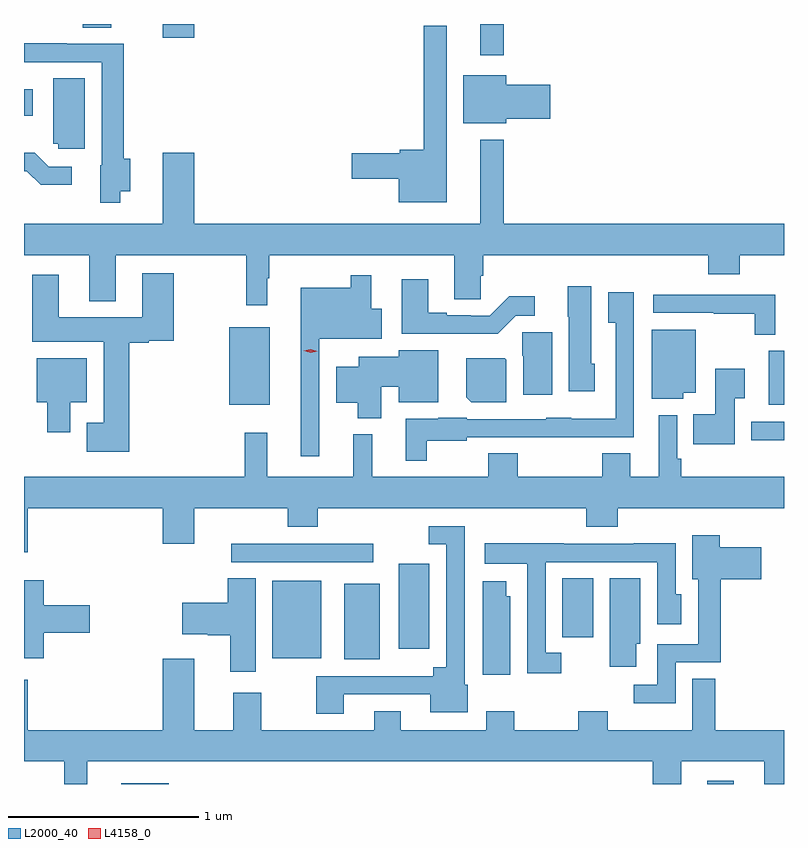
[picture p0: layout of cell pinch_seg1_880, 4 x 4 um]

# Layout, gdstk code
import gdstk
lib = gdstk.Library(unit=1e-6, precision=1e-09)
def R(c, l, rs):  # rectangles x0, y0, x1, y1
    for r in rs: c.add(gdstk.rectangle(r[:2], r[2:], *l))
def P(c, l, *ps):  # polygons
    for p in ps: c.add(gdstk.Polygon(p, *l))
L2000_40 = (2000, 40)
L4158_0 = (4158, 0)

pinch_seg1_880 = lib.new_cell('pinch_seg1_880')
R(pinch_seg1_880, L2000_40, [(548.405,519.644,548.656,519.649), (551.489,519.644,551.629,519.661), (549.578,520.301,549.766,520.699), (549.2,520.307,549.457,520.714), (549.866,520.356,550.027,520.804), (550.727,520.416,550.888,520.727), (548.985,520.812,549.73,520.908), (551.721,521.453,551.893,521.55), (548.972,521.639,549.187,522.049), (551.813,521.639,551.893,521.923), (547.893,523.16,547.939,523.3), (550.295,523.479,550.417,523.644), (548.624,523.572,548.788,523.644), (548.201,523.624,548.353,523.644)])
P(pinch_seg1_880, L2000_40, [(550.117,523.636),(549.996,523.636),(549.996,522.983),(549.87,522.983),(549.87,522.965),(549.618,522.965),(549.618,522.83),(549.866,522.83),(549.866,522.707),(550.117,522.707)],
  [(548.4,522.764),(548.452,522.764),(548.452,522.935),(548.417,522.935),(548.417,523.539),(548.117,523.539),(548.117,523.542),(547.893,523.542),(547.893,523.443),(548.301,523.443),(548.301,522.9),(548.294,522.9),(548.294,522.704),(548.4,522.704)],
  [(550.432,523.145),(550.663,523.145),(550.663,523.323),(550.432,523.323),(550.432,523.375),(550.205,523.375),(550.205,523.121),(550.432,523.121)],
  [(548.212,523.358),(548.048,523.358),(548.048,523.014),(548.073,523.014),(548.073,522.987),(548.212,522.987)],
  [(549.172,522.305),(549.184,522.305),(549.184,522.428),(550.157,522.428),(550.157,522.196),(550.296,522.196),(550.296,522.318),(550.31,522.318),(550.31,522.428),(551.495,522.428),(551.495,522.326),(551.66,522.326),(551.66,522.428),(551.893,522.428),(551.893,522.592),(550.417,522.592),(550.417,523.036),(550.295,523.036),(550.295,522.592),(548.788,522.592),(548.788,522.967),(548.624,522.967),(548.624,522.592),(547.893,522.592),(547.893,522.428),(548.237,522.428),(548.237,522.185),(548.377,522.185),(548.377,522.428),(549.063,522.428),(549.063,522.165),(549.172,522.165)],
  [(548.143,522.894),(548.022,522.894),(547.949,522.967),(547.893,522.967),(547.893,522.87),(547.908,522.87),(547.981,522.797),(548.143,522.797)],
  [(548.447,521.966),(548.55,521.966),(548.55,521.978),(548.682,521.978),(548.682,522.331),(548.516,522.331),(548.516,522.1),(548.077,522.1),(548.077,522.325),(547.937,522.325),(547.937,521.972),(548.312,521.972),(548.312,521.545),(548.222,521.545),(548.222,521.393),(548.447,521.393)],
  [(549.447,521.987),(549.775,521.987),(549.775,522.145),(549.721,522.145),(549.721,522.322),(549.612,522.322),(549.612,522.256),(549.35,522.256),(549.35,521.37),(549.447,521.37)],
  [(550.482,522.108),(550.582,522.108),(550.582,522.211),(550.447,522.211),(550.344,522.108),(550.244,522.108),(550.244,522.111),(550.117,522.111),(550.117,522.124),(550.021,522.124),(550.021,522.301),(549.881,522.301),(549.881,522.014),(550.387,522.014)],
  [(550.897,521.856),(550.879,521.856),(550.879,522.265),(550.754,522.265),(550.754,522.102),(550.76,522.102),(550.76,521.712),(550.897,521.712)],
  [(550.012,521.45),(550.224,521.45),(550.224,521.469),(550.641,521.469),(550.641,521.468),(550.873,521.468),(550.873,521.469),(551.103,521.469),(551.103,522.232),(550.967,522.232),(550.967,522.071),(551.007,522.071),(551.007,521.566),(550.773,521.566),(550.773,521.572),(550.641,521.572),(550.641,521.565),(550.224,521.565),(550.224,521.572),(550.074,521.572),(550.074,521.566),(549.902,521.566),(549.902,521.345),(550.012,521.345)],
  [(551.848,522.219),(551.205,522.219),(551.205,522.123),(551.524,522.123),(551.524,522.118),(551.739,522.118),(551.739,522.008),(551.848,522.008)],
  [(551.362,521.702),(551.428,521.702),(551.428,522.034),(551.198,522.034),(551.198,521.672),(551.362,521.672)],
  [(550.672,522.021),(550.516,522.021),(550.516,521.898),(550.52,521.898),(550.52,521.694),(550.672,521.694)],
  [(549.772,521.734),(549.866,521.734),(549.866,521.654),(550.072,521.654),(550.072,521.926),(549.866,521.926),(549.866,521.893),(549.656,521.893),(549.656,521.839),(549.536,521.839),(549.536,521.651),(549.65,521.651),(549.65,521.57),(549.772,521.57)],
  [(548.137,521.654),(548.224,521.654),(548.224,521.884),(547.961,521.884),(547.961,521.654),(548.015,521.654),(548.015,521.496),(548.137,521.496)],
  [(550.432,521.876),(550.424,521.884),(550.22,521.884),(550.22,521.68),(550.246,521.654),(550.432,521.654)],
  [(551.635,521.674),(551.686,521.674),(551.686,521.83),(551.531,521.83),(551.531,521.59),(551.416,521.59),(551.416,521.432),(551.635,521.432)],
  [(547.913,521.096),(548.624,521.096),(548.624,520.908),(548.788,520.908),(548.788,521.096),(549.28,521.096),(549.28,520.997),(549.44,520.997),(549.44,521.096),(550.853,521.096),(550.853,520.997),(551.018,520.997),(551.018,521.096),(551.893,521.096),(551.893,521.26),(551.351,521.26),(551.351,521.356),(551.331,521.356),(551.331,521.584),(551.234,521.584),(551.234,521.26),(551.083,521.26),(551.083,521.384),(550.936,521.384),(550.936,521.26),(550.491,521.26),(550.491,521.384),(550.336,521.384),(550.336,521.26),(549.725,521.26),(549.725,521.485),(549.626,521.485),(549.626,521.26),(549.173,521.26),(549.173,521.494),(549.055,521.494),(549.055,521.26),(547.893,521.26),(547.893,520.863),(547.913,520.863)],
  [(549.577,520.116),(550.031,520.116),(550.031,520.022),(550.228,520.022),(550.228,520.167),(550.212,520.167),(550.212,521.001),(550.023,521.001),(550.023,520.905),(550.116,520.905),(550.116,520.258),(550.046,520.258),(550.046,520.212),(549.43,520.212),(549.43,520.014),(549.577,520.014)],
  [(551.322,520.284),(551.56,520.284),(551.56,520.721),(551.773,520.721),(551.773,520.891),(551.555,520.891),(551.555,520.954),(551.411,520.954),(551.411,520.721),(551.441,520.721),(551.441,520.38),(551.226,520.38),(551.226,520.167),(551.103,520.167),(551.103,520.07),(551.322,520.07)],
  [(550.72,520.335),(550.638,520.335),(550.638,520.812),(551.226,520.812),(551.226,520.485),(551.353,520.485),(551.353,520.644),(551.322,520.644),(551.322,520.91),(551.101,520.91),(551.101,520.908),(550.735,520.908),(550.735,520.91),(550.317,520.91),(550.317,520.802),(550.542,520.802),(550.542,520.227),(550.72,520.227)],
  [(551.116,520.383),(551.137,520.383),(551.137,520.727),(550.976,520.727),(550.976,520.26),(551.116,520.26)],
  [(549.112,520.727),(548.966,520.727),(548.966,520.599),(548.727,520.599),(548.727,520.433),(548.861,520.433),(548.861,520.426),(548.978,520.426),(548.978,520.236),(549.112,520.236)],
  [(547.996,520.439),(548.239,520.439),(548.239,520.586),(547.996,520.586),(547.996,520.717),(547.893,520.717),(547.893,520.307),(547.996,520.307)],
  [(550.453,520.632),(550.432,520.632),(550.432,520.711),(550.307,520.711),(550.307,520.218),(550.453,520.218)],
  [(548.227,519.764),(551.201,519.764),(551.201,519.644),(551.353,519.644),(551.353,519.764),(551.789,519.764),(551.789,519.644),(551.893,519.644),(551.893,519.928),(551.53,519.928),(551.53,520.199),(551.411,520.199),(551.411,519.928),(550.965,519.928),(550.965,520.027),(550.81,520.027),(550.81,519.928),(550.473,519.928),(550.473,520.027),(550.325,520.027),(550.325,519.928),(549.877,519.928),(549.877,520.027),(549.737,520.027),(549.737,519.928),(549.141,519.928),(549.141,520.123),(548.993,520.123),(548.993,519.928),(548.788,519.928),(548.788,520.303),(548.624,520.303),(548.624,519.928),(547.913,519.928),(547.913,520.192),(547.893,520.192),(547.893,519.764),(548.106,519.764),(548.106,519.644),(548.227,519.644)])
P(pinch_seg1_880, L4158_0, [(549.401,521.913),(549.366,521.924),(549.365,521.924),(549.366,521.924),(549.401,521.932),(549.436,521.921),(549.437,521.921),(549.436,521.921)])

lib.write_gds('pinch_seg1_880.gds')
